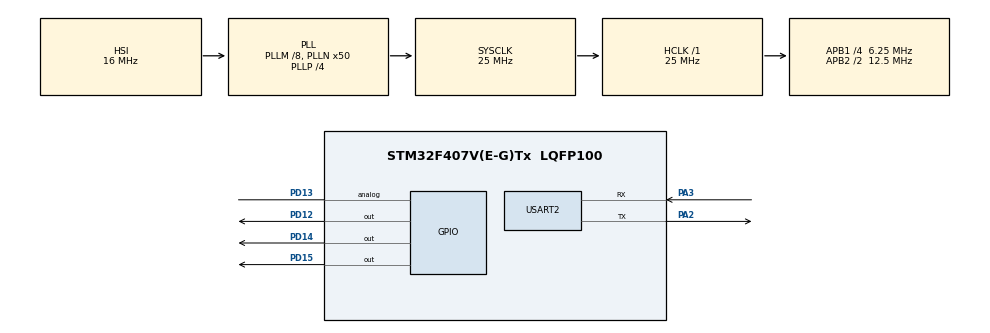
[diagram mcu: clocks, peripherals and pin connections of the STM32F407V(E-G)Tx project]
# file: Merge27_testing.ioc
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Mcu.Family=STM32F4
Mcu.Name=STM32F407V(E-G)Tx
Mcu.Package=LQFP100
NVIC.PriorityGroup=NVIC_PRIORITYGROUP_0
NVIC.TIM2_IRQn=true\:0\:0\:false\:false\:true\:true\:true\:true
NVIC.USART2_IRQn=true\:0\:0\:false\:false\:true\:true\:true\:true
PA2.Mode=Asynchronous
PA2.Signal=USART2_TX
PA3.Mode=Asynchronous
PA3.Signal=USART2_RX
PD12.Signal=GPIO_Output
PD13.Signal=GPIO_Analog
PD14.Signal=GPIO_Output
PD15.Signal=GPIO_Output
ProjectManager.HeapSize=0x200
ProjectManager.StackSize=0x400
ProjectManager.TargetToolchain=STM32CubeIDE
RCC.48MHZClocksFreq_Value=14285714.285714285
RCC.AHBFreq_Value=25000000
RCC.APB1CLKDivider=RCC_HCLK_DIV4
RCC.APB1Freq_Value=6250000
RCC.APB1TimFreq_Value=12500000
RCC.APB2CLKDivider=RCC_HCLK_DIV2
RCC.APB2Freq_Value=12500000
RCC.APB2TimFreq_Value=25000000
RCC.CortexFreq_Value=25000000
RCC.HCLKFreq_Value=25000000
RCC.HSE_VALUE=8000000
RCC.HSI_VALUE=16000000
RCC.LSE_VALUE=32768
RCC.PLLM=8
RCC.PLLN=50
RCC.PLLP=RCC_PLLP_DIV4
RCC.PLLQ=7
RCC.SYSCLKFreq_VALUE=25000000
RCC.SYSCLKSource=RCC_SYSCLKSOURCE_PLLCLK
RCC.VCOOutputFreq_Value=100000000
USART2.VirtualMode=VM_ASYNC
VP_RTC_VS_RTC_Activate.Mode=RTC_Enabled
VP_TIM2_VS_ClockSourceINT.Mode=Internal
board=STM32F407G-DISC1

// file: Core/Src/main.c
/* USER CODE BEGIN Header */
/**
  ******************************************************************************
  * @file           : main.c
  * @brief          : Main program body
  ******************************************************************************
  * @attention
  *
  * Copyright (c) 2025 STMicroelectronics.
  * All rights reserved.
  *
  * This software is licensed under terms that can be found in the LICENSE file
  * in the root directory of this software component.
  * If no LICENSE file comes with this software, it is provided AS-IS.
  *
  ******************************************************************************
  */
/* USER CODE END Header */
#include "main.h"

/* USER CODE BEGIN Includes */
#include "stm32f4xx_hal.h"
#include <string.h>
#include <stdio.h>

/* USER CODE END Includes */

RTC_HandleTypeDef hrtc;

TIM_HandleTypeDef htim2;

UART_HandleTypeDef huart2;

/* USER CODE BEGIN PV */
uint8_t rxData;
uint8_t led_state = 0;
uint8_t stopwatch_running = 0;
uint32_t stopwatch_time = 0;
char rxBuffer[50];
uint8_t rxIndex = 0;

/* USER CODE END PV */

void SystemClock_Config(void);
static void MX_GPIO_Init(void);
static void MX_RTC_Init(void);
static void MX_TIM2_Init(void);
static void MX_USART2_UART_Init(void);
void Process_Command(char *cmd);
/* USER CODE BEGIN PFP */
void HAL_UART_RxCpltCallback(UART_HandleTypeDef *huart);

void HAL_TIM_PeriodElapsedCallback(TIM_HandleTypeDef *htim);

/* USER CODE END PFP */

int main(void)
{

  /* MCU Configuration--------------------------------------------------------*/

  /* Reset of all peripherals, Initializes the Flash interface and the Systick. */
  HAL_Init();

  /* Configure the system clock */
  SystemClock_Config();

  /* Initialize all configured peripherals */
  MX_GPIO_Init();
  MX_RTC_Init();
  MX_TIM2_Init();
  MX_USART2_UART_Init();
  /* USER CODE BEGIN 2 */
  char msg[] = "Working Fine...i am pressing reset button on board\r\nPress 1=LED ON, 0=LED OFF\r\n";
      HAL_UART_Transmit(&huart2, (uint8_t*)msg, strlen(msg), HAL_MAX_DELAY);

      // Start UART receive interrupt
      HAL_UART_Receive_IT(&huart2, &rxData, 1);

      // Start timer interrupt (100ms)
      HAL_TIM_Base_Start_IT(&htim2);

  /* USER CODE END 2 */

  /* Infinite loop */
  /* USER CODE BEGIN WHILE */
      while (1) {
                 // Button for stopwatch toggle (PA0)
                 if (HAL_GPIO_ReadPin(GPIOA, GPIO_PIN_0) == GPIO_PIN_SET) {
                     HAL_Delay(200); // debounce
                     stopwatch_running = !stopwatch_running;
                     stopwatch_time = (stopwatch_running) ? stopwatch_time : stopwatch_time; // preserve
                     if (stopwatch_running) {
                         HAL_UART_Transmit(&huart2, (uint8_t*)"Stopwatch START\r\n", 17, HAL_MAX_DELAY);
                     } else {
                         HAL_UART_Transmit(&huart2, (uint8_t*)"Stopwatch STOP\r\n", 16, HAL_MAX_DELAY);
                         HAL_GPIO_WritePin(GPIOD, GPIO_PIN_14, GPIO_PIN_RESET); // Buzzer OFF
                     }
                     while (HAL_GPIO_ReadPin(GPIOA, GPIO_PIN_0) == GPIO_PIN_SET); // wait for release
                 }
                 static uint32_t prevTick = 0;
                        if (HAL_GetTick() - prevTick >= 1000)
                        {
                            prevTick = HAL_GetTick();
                            RTC_TimeTypeDef gTime;
                            RTC_DateTypeDef gDate;
                            HAL_RTC_GetTime(&hrtc, &gTime, RTC_FORMAT_BIN);
                            HAL_RTC_GetDate(&hrtc, &gDate, RTC_FORMAT_BIN); // must be called after GetTime

                            char timeMsg[50];
                            sprintf(timeMsg, "Time: %02d:%02d:%02d\r\n", gTime.Hours, gTime.Minutes, gTime.Seconds);
                            HAL_UART_Transmit(&huart2, (uint8_t*)timeMsg, strlen(timeMsg), HAL_MAX_DELAY);
                        }
             }
         }

         // ============================== CALLBACKS ==============================

      void HAL_UART_RxCpltCallback(UART_HandleTypeDef *huart)
      {
          if (huart->Instance == USART2)
          {
              if (rxData == '1')
              {
                  HAL_GPIO_WritePin(GPIOD, GPIO_PIN_12, GPIO_PIN_SET); // LED ON
                  char msg[] = "LED ON\r\n";
                  HAL_UART_Transmit(&huart2, (uint8_t*)msg, strlen(msg), HAL_MAX_DELAY);
              }
              else if (rxData == '0')
              {
                  HAL_GPIO_WritePin(GPIOD, GPIO_PIN_12, GPIO_PIN_RESET); // LED OFF
                  char msg[] = "LED OFF\r\n";
                  HAL_UART_Transmit(&huart2, (uint8_t*)msg, strlen(msg), HAL_MAX_DELAY);
              }

              // Re-enable UART interrupt receive
              HAL_UART_Receive_IT(&huart2, &rxData, 1);
          }
      }

         void HAL_TIM_PeriodElapsedCallback(TIM_HandleTypeDef *htim) {
             if (htim->Instance == TIM2) {
                 // Heartbeat LED toggle (Orange LED every 100ms)
                 HAL_GPIO_TogglePin(GPIOD, GPIO_PIN_13);

                 // Stopwatch logic (100ms tick)
                 if (stopwatch_running) {
                     stopwatch_time++;

                     // Every 1 second (10 × 100ms)
                     if (stopwatch_time % 10 == 0) {
                         char buf[40];
                         sprintf(buf, "Stopwatch: %lu s\r\n", stopwatch_time / 10);
                         HAL_UART_Transmit(&huart2, (uint8_t*)buf, strlen(buf), HAL_MAX_DELAY);

                         // --- Beep buzzer every second ---
                         HAL_GPIO_WritePin(GPIOD, GPIO_PIN_14, GPIO_PIN_SET); // Buzzer ON
                         HAL_Delay(100); // short beep (100ms)
                         HAL_GPIO_WritePin(GPIOD, GPIO_PIN_14, GPIO_PIN_RESET); // Buzzer OFF
                     }
                 }
             }
         }

         void Process_Command(char *cmd)
         {
             if (strcmp(cmd, "1") == 0)
             {
                 HAL_GPIO_WritePin(GPIOD, GPIO_PIN_12, GPIO_PIN_SET);
                 char msg[] = "LED ON\r\n";
                 HAL_UART_Transmit(&huart2, (uint8_t*)msg, strlen(msg), HAL_MAX_DELAY);
             }
             else if (strcmp(cmd, "0") == 0)
             {
                 HAL_GPIO_WritePin(GPIOD, GPIO_PIN_12, GPIO_PIN_RESET);
                 char msg[] = "LED OFF\r\n";
                 HAL_UART_Transmit(&huart2, (uint8_t*)msg, strlen(msg), HAL_MAX_DELAY);
             }
             // ---------------- NEW RTC COMMAND ----------------
             else if (strncmp(cmd, "SET TIME ", 9) == 0)
             {
                 uint8_t hh, mm, ss;
                 if (sscanf(cmd + 9, "%2hhu:%2hhu:%2hhu", &hh, &mm, &ss) == 3)
                 {
                     RTC_TimeTypeDef sTime = {0};
                     sTime.Hours = hh;
                     sTime.Minutes = mm;
                     sTime.Seconds = ss;
                     HAL_RTC_SetTime(&hrtc, &sTime, RTC_FORMAT_BIN);

                     char msg[40];
                     sprintf(msg, "RTC Time Set: %02d:%02d:%02d\r\n", hh, mm, ss);
                     HAL_UART_Transmit(&huart2, (uint8_t*)msg, strlen(msg), HAL_MAX_DELAY);
                 }
                 else
                 {
                     char msg[] = "Invalid format! Use SET TIME HH:MM:SS\r\n";
                     HAL_UART_Transmit(&huart2, (uint8_t*)msg, strlen(msg), HAL_MAX_DELAY);
                 }
             }
             else
             {
                 char msg[] = "Unknown Command\r\n";
                 HAL_UART_Transmit(&huart2, (uint8_t*)msg, strlen(msg), HAL_MAX_DELAY);
             }
         }

void SystemClock_Config(void)
{
  RCC_OscInitTypeDef RCC_OscInitStruct = {0};
  RCC_ClkInitTypeDef RCC_ClkInitStruct = {0};

  /** Configure the main internal regulator output voltage
  */
  __HAL_RCC_PWR_CLK_ENABLE();
  __HAL_PWR_VOLTAGESCALING_CONFIG(PWR_REGULATOR_VOLTAGE_SCALE1);

  /** Initializes the RCC Oscillators according to the specified parameters
  * in the RCC_OscInitTypeDef structure.
  */
  RCC_OscInitStruct.OscillatorType = RCC_OSCILLATORTYPE_HSI|RCC_OSCILLATORTYPE_LSI;
  RCC_OscInitStruct.HSIState = RCC_HSI_ON;
  RCC_OscInitStruct.HSICalibrationValue = RCC_HSICALIBRATION_DEFAULT;
  RCC_OscInitStruct.LSIState = RCC_LSI_ON;
  RCC_OscInitStruct.PLL.PLLState = RCC_PLL_ON;
  RCC_OscInitStruct.PLL.PLLSource = RCC_PLLSOURCE_HSI;
  RCC_OscInitStruct.PLL.PLLM = 8;
  RCC_OscInitStruct.PLL.PLLN = 50;
  RCC_OscInitStruct.PLL.PLLP = RCC_PLLP_DIV4;
  RCC_OscInitStruct.PLL.PLLQ = 7;
  if (HAL_RCC_OscConfig(&RCC_OscInitStruct) != HAL_OK)
  {
    Error_Handler();
  }

  /** Initializes the CPU, AHB and APB buses clocks
  */
  RCC_ClkInitStruct.ClockType = RCC_CLOCKTYPE_HCLK|RCC_CLOCKTYPE_SYSCLK
                              |RCC_CLOCKTYPE_PCLK1|RCC_CLOCKTYPE_PCLK2;
  RCC_ClkInitStruct.SYSCLKSource = RCC_SYSCLKSOURCE_PLLCLK;
  RCC_ClkInitStruct.AHBCLKDivider = RCC_SYSCLK_DIV1;
  RCC_ClkInitStruct.APB1CLKDivider = RCC_HCLK_DIV4;
  RCC_ClkInitStruct.APB2CLKDivider = RCC_HCLK_DIV2;

  if (HAL_RCC_ClockConfig(&RCC_ClkInitStruct, FLASH_LATENCY_0) != HAL_OK)
  {
    Error_Handler();
  }
}

static void MX_RTC_Init(void)
{

  /** Initialize RTC Only
  */
  hrtc.Instance = RTC;
  hrtc.Init.HourFormat = RTC_HOURFORMAT_24;
  hrtc.Init.AsynchPrediv = 127;
  hrtc.Init.SynchPrediv = 255;
  hrtc.Init.OutPut = RTC_OUTPUT_DISABLE;
  hrtc.Init.OutPutPolarity = RTC_OUTPUT_POLARITY_HIGH;
  hrtc.Init.OutPutType = RTC_OUTPUT_TYPE_OPENDRAIN;
  if (HAL_RTC_Init(&hrtc) != HAL_OK)
  {
    Error_Handler();
  }

}

static void MX_TIM2_Init(void)
{

  TIM_ClockConfigTypeDef sClockSourceConfig = {0};
  TIM_MasterConfigTypeDef sMasterConfig = {0};

  htim2.Instance = TIM2;
  htim2.Init.Prescaler = 0;
  htim2.Init.CounterMode = TIM_COUNTERMODE_UP;
  htim2.Init.Period = 4294967295;
  htim2.Init.ClockDivision = TIM_CLOCKDIVISION_DIV1;
  htim2.Init.AutoReloadPreload = TIM_AUTORELOAD_PRELOAD_DISABLE;
  if (HAL_TIM_Base_Init(&htim2) != HAL_OK)
  {
    Error_Handler();
  }
  sClockSourceConfig.ClockSource = TIM_CLOCKSOURCE_INTERNAL;
  if (HAL_TIM_ConfigClockSource(&htim2, &sClockSourceConfig) != HAL_OK)
  {
    Error_Handler();
  }
  sMasterConfig.MasterOutputTrigger = TIM_TRGO_RESET;
  sMasterConfig.MasterSlaveMode = TIM_MASTERSLAVEMODE_DISABLE;
  if (HAL_TIMEx_MasterConfigSynchronization(&htim2, &sMasterConfig) != HAL_OK)
  {
    Error_Handler();
  }

}

static void MX_USART2_UART_Init(void)
{

  huart2.Instance = USART2;
  huart2.Init.BaudRate = 115200;
  huart2.Init.WordLength = UART_WORDLENGTH_8B;
  huart2.Init.StopBits = UART_STOPBITS_1;
  huart2.Init.Parity = UART_PARITY_NONE;
  huart2.Init.Mode = UART_MODE_TX_RX;
  huart2.Init.HwFlowCtl = UART_HWCONTROL_NONE;
  huart2.Init.OverSampling = UART_OVERSAMPLING_16;
  if (HAL_UART_Init(&huart2) != HAL_OK)
  {
    Error_Handler();
  }

}

static void MX_GPIO_Init(void)
{
  GPIO_InitTypeDef GPIO_InitStruct = {0};

  /* GPIO Ports Clock Enable */
  __HAL_RCC_GPIOA_CLK_ENABLE();
  __HAL_RCC_GPIOD_CLK_ENABLE();

  /*Configure GPIO pin Output Level */
  HAL_GPIO_WritePin(GPIOD, GPIO_PIN_12|GPIO_PIN_14|GPIO_PIN_15, GPIO_PIN_RESET);

  /*Configure GPIO pins : PD12 PD14 PD15 */
  GPIO_InitStruct.Pin = GPIO_PIN_12|GPIO_PIN_14|GPIO_PIN_15;
  GPIO_InitStruct.Mode = GPIO_MODE_OUTPUT_PP;
  GPIO_InitStruct.Pull = GPIO_NOPULL;
  GPIO_InitStruct.Speed = GPIO_SPEED_FREQ_LOW;
  HAL_GPIO_Init(GPIOD, &GPIO_InitStruct);

  /*Configure GPIO pin : PD13 */
  GPIO_InitStruct.Pin = GPIO_PIN_13;
  GPIO_InitStruct.Mode = GPIO_MODE_ANALOG;
  GPIO_InitStruct.Pull = GPIO_NOPULL;
  HAL_GPIO_Init(GPIOD, &GPIO_InitStruct);

}

void Error_Handler(void)
{
  __disable_irq();
  while (1)
  {
  }
}
